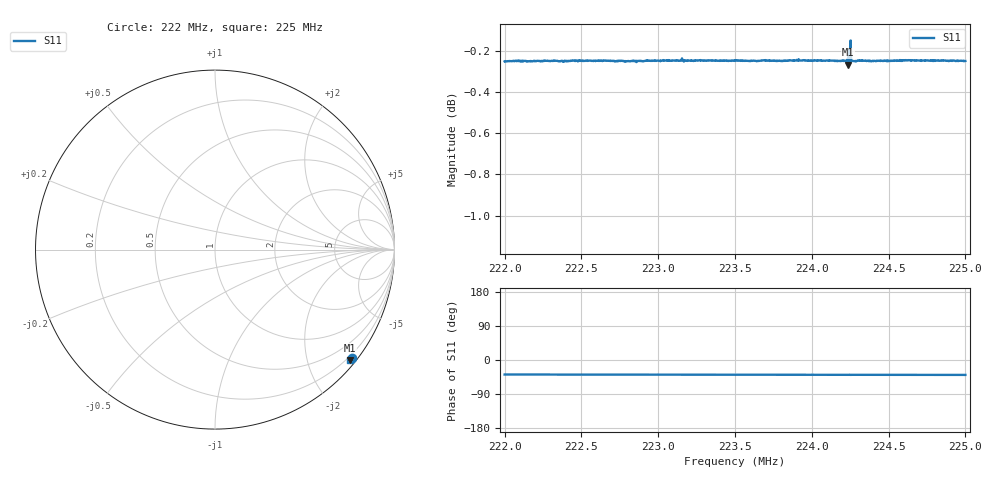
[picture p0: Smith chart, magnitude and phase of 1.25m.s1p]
! Calibrated averaged scanner-service zoom
# Hz S RI R 50
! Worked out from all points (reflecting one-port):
!   1001 points, 222 MHz to 225 MHz, reference 50 ohm
!   lowest |S11| = -0.3 dB at 224.24 MHz (marker M1), VSWR 65.26, Z = 6.75 - j140 ohm
!   phase of S11 starts at -38 deg and turns -1 deg over the sweep
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2.22e8  0.762 -0.6028
2.2233e8  0.7613 -0.6043
2.22375e8  0.7611 -0.6044
2.22642e8  0.76 -0.606
2.2275e8  0.7597 -0.6062
2.23125e8  0.7586 -0.6078
2.235e8  0.7571 -0.6097
2.23629e8  0.7565 -0.6102
2.23692e8  0.7566 -0.6103
2.238e8  0.756 -0.6106
2.23875e8  0.756 -0.6111
2.24013e8  0.7553 -0.612
2.24217e8  0.7544 -0.6128
2.24223e8  0.7542 -0.6129
2.24226e8  0.7542 -0.6128
2.24235e8  0.7502 -0.6146
2.24238e8  0.7542 -0.6129
2.2425e8  0.7544 -0.6128
2.24256e8  0.7545 -0.613
2.24259e8  0.7543 -0.613
2.24268e8  0.7541 -0.6129
2.24271e8  0.754 -0.613
2.2428e8  0.754 -0.6129
2.24313e8  0.7543 -0.6133
2.24403e8  0.7539 -0.6132
2.24625e8  0.7533 -0.6147
2.24856e8  0.752 -0.6157
2.25e8  0.7515 -0.6161
